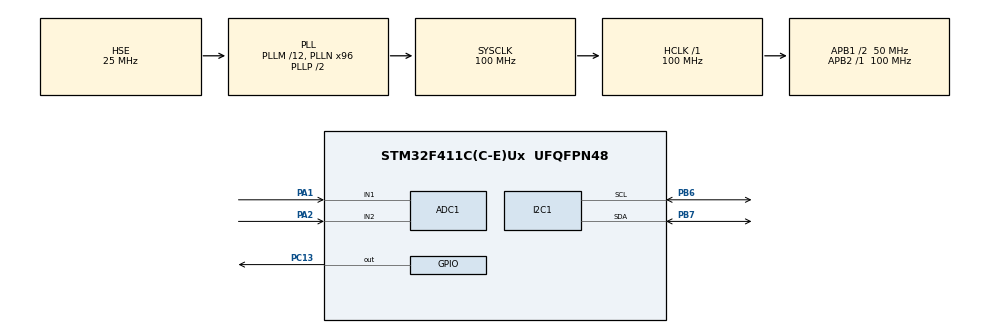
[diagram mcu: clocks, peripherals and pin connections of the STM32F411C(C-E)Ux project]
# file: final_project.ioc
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ADC1.Channel-0\#ChannelRegularConversion=ADC_CHANNEL_1
ADC1.Channel-1\#ChannelRegularConversion=ADC_CHANNEL_2
ADC1.ContinuousConvMode=ENABLE
ADC1.DMAContinuousRequests=ENABLE
ADC1.NbrOfConversion=2
ADC1.NbrOfConversionFlag=1
ADC1.Rank-0\#ChannelRegularConversion=1
ADC1.Rank-1\#ChannelRegularConversion=2
ADC1.SamplingTime-0\#ChannelRegularConversion=ADC_SAMPLETIME_144CYCLES
ADC1.SamplingTime-1\#ChannelRegularConversion=ADC_SAMPLETIME_144CYCLES
ADC1.master=1
Dma.ADC1.0.Direction=DMA_PERIPH_TO_MEMORY
Dma.ADC1.0.FIFOMode=DMA_FIFOMODE_DISABLE
Dma.ADC1.0.Instance=DMA2_Stream0
Dma.ADC1.0.MemDataAlignment=DMA_MDATAALIGN_WORD
Dma.ADC1.0.MemInc=DMA_MINC_ENABLE
Dma.ADC1.0.Mode=DMA_CIRCULAR
Dma.ADC1.0.PeriphDataAlignment=DMA_PDATAALIGN_WORD
Dma.ADC1.0.PeriphInc=DMA_PINC_DISABLE
Dma.ADC1.0.Priority=DMA_PRIORITY_LOW
Dma.Request0=ADC1
I2C1.I2C_Mode=I2C_Fast
Mcu.Family=STM32F4
Mcu.Name=STM32F411C(C-E)Ux
Mcu.Package=UFQFPN48
NVIC.DMA2_Stream0_IRQn=true\:0\:0\:false\:false\:true\:false\:true\:true
NVIC.PriorityGroup=NVIC_PRIORITYGROUP_4
PA1.Signal=ADCx_IN1
PA2.Signal=ADCx_IN2
PB6.Mode=I2C
PB6.Signal=I2C1_SCL
PB7.Mode=I2C
PB7.Signal=I2C1_SDA
PC13-ANTI_TAMP.Signal=GPIO_Output
PH0\ -\ OSC_IN.Mode=HSE-External-Oscillator
PH0\ -\ OSC_IN.Signal=RCC_OSC_IN
PH1\ -\ OSC_OUT.Mode=HSE-External-Oscillator
PH1\ -\ OSC_OUT.Signal=RCC_OSC_OUT
ProjectManager.HeapSize=0x200
ProjectManager.StackSize=0x400
ProjectManager.TargetToolchain=STM32CubeIDE
RCC.48MHZClocksFreq_Value=50000000
RCC.AHBFreq_Value=100000000
RCC.APB1CLKDivider=RCC_HCLK_DIV2
RCC.APB1Freq_Value=50000000
RCC.APB1TimFreq_Value=100000000
RCC.APB2Freq_Value=100000000
RCC.APB2TimFreq_Value=100000000
RCC.CortexFreq_Value=100000000
RCC.HCLKFreq_Value=100000000
RCC.HSE_VALUE=25000000
RCC.HSI_VALUE=16000000
RCC.LSE_VALUE=32768
RCC.PLLM=12
RCC.PLLN=96
RCC.PLLSourceVirtual=RCC_PLLSOURCE_HSE
RCC.SYSCLKFreq_VALUE=100000000
RCC.SYSCLKSource=RCC_SYSCLKSOURCE_PLLCLK
RCC.VCOOutputFreq_Value=200000000
SH.ADCx_IN1.0=ADC1_IN1,IN1
SH.ADCx_IN2.0=ADC1_IN2,IN2
board=custom

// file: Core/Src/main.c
/* USER CODE BEGIN Header */
/**
  ******************************************************************************
  * @file           : main.c
  * @brief          : Main program body
  ******************************************************************************
  * @attention
  *
  * Copyright (c) 2022 STMicroelectronics.
  * All rights reserved.
  *
  * This software is licensed under terms that can be found in the LICENSE file
  * in the root directory of this software component.
  * If no LICENSE file comes with this software, it is provided AS-IS.
  *
  ******************************************************************************
  */
/* USER CODE END Header */
#include "main.h"

/* USER CODE BEGIN Includes */
#include "fonts.h"
#include "ssd1306.h"
#include "tetris.h"

/* USER CODE END Includes */

 ADC_HandleTypeDef hadc1;
DMA_HandleTypeDef hdma_adc1;

I2C_HandleTypeDef hi2c1;

void SystemClock_Config(void);
static void MX_GPIO_Init(void);
static void MX_I2C1_Init(void);
static void MX_DMA_Init(void);
static void MX_ADC1_Init(void);

/* USER CODE BEGIN 0 */
uint32_t VR[2];
/* USER CODE END 0 */

int main(void)
{

  /* MCU Configuration--------------------------------------------------------*/

  /* Reset of all peripherals, Initializes the Flash interface and the Systick. */
  HAL_Init();

  /* Configure the system clock */
  SystemClock_Config();

  /* Initialize all configured peripherals */
  MX_GPIO_Init();
  MX_I2C1_Init();
  MX_DMA_Init();
  MX_ADC1_Init();
  /* USER CODE BEGIN 2 */
	if(SSD1306_Init () == 0){
		for(uint8_t i = 0; i < 10; ++i){
			HAL_GPIO_WritePin(GPIOC, GPIO_PIN_13, GPIO_PIN_RESET);
			HAL_Delay (100);
			HAL_GPIO_WritePin(GPIOC, GPIO_PIN_13, GPIO_PIN_SET);
			HAL_Delay (100);
		}
	}
	  rng_seed(HAL_GetTick());
	  HAL_StatusTypeDef status = HAL_ADC_Start_DMA(&hadc1, VR, 2);
  /* USER CODE END 2 */

  /* Infinite loop */
  /* USER CODE BEGIN WHILE */
	  uint32_t last_input_time = 0;
	  uint32_t input_interval = 250;
	  enum GAME_STATE cur_state = START;
	  enum SM_MOVE move;
	  static char score_buf[12] = {0};
	  uint8_t game_ended = 1;
  while (1)
  {
	  move = NO_INPUT;

	  if(last_input_time + input_interval < HAL_GetTick()){
		  last_input_time = HAL_GetTick();
		  if(VR[1] > 3900){
			  move = ROTATE;
		  }else if(VR[1] < 200){
			  move = DOWN;
		  }else if(VR[0] > 3900){
			  move = LEFT;
		  }else if(VR[0] < 200){
			  move = RIGHT;
		  }
	  }

	  if(cur_state == START){
		  if(game_ended){
			  game_ended = 0;
			  SSD1306_Clear();
		  }
		  SSD1306_GotoXY (10,10); // goto 10, 10
		  SSD1306_Puts ("MINI", &Font_11x18, 1);
		  SSD1306_GotoXY (10, 30);
		  SSD1306_Puts ("TETRIS", &Font_11x18, 1);
		  SSD1306_UpdateScreen(); // update screen*/
		  if(move != NO_INPUT){
			  init_game();
			  cur_state = RUNNING;
		  }
	  }else if(cur_state == RUNNING){
		  cur_state = game_iteration(move);
	  }else if(cur_state == LOST){
		  cur_state = ENDED;
		  SSD1306_GotoXY (10,10); // goto 10, 10
		  SSD1306_Puts ("GAME OVER!", &Font_11x18, 1);
		  SSD1306_UpdateScreen(); // update screen*/
		  HAL_Delay (2000);
		  SSD1306_Clear();
		  SSD1306_GotoXY (10,10); // goto 10, 10
		  SSD1306_Puts ("YOUR SCORE", &Font_11x18, 1);
		  SSD1306_GotoXY (10, 30);
		  itoa(get_score(), score_buf, 11);
		  SSD1306_Puts (score_buf, &Font_11x18, 1);
		  SSD1306_UpdateScreen(); // update screen*/
	  }else{
		  if(move != NO_INPUT)
			  cur_state = START;
		  game_ended = 1;
	  }

    /* USER CODE END WHILE */

  }
}

void SystemClock_Config(void)
{
  RCC_OscInitTypeDef RCC_OscInitStruct = {0};
  RCC_ClkInitTypeDef RCC_ClkInitStruct = {0};

  /** Configure the main internal regulator output voltage
  */
  __HAL_RCC_PWR_CLK_ENABLE();
  __HAL_PWR_VOLTAGESCALING_CONFIG(PWR_REGULATOR_VOLTAGE_SCALE1);

  /** Initializes the RCC Oscillators according to the specified parameters
  * in the RCC_OscInitTypeDef structure.
  */
  RCC_OscInitStruct.OscillatorType = RCC_OSCILLATORTYPE_HSE;
  RCC_OscInitStruct.HSEState = RCC_HSE_ON;
  RCC_OscInitStruct.PLL.PLLState = RCC_PLL_ON;
  RCC_OscInitStruct.PLL.PLLSource = RCC_PLLSOURCE_HSE;
  RCC_OscInitStruct.PLL.PLLM = 12;
  RCC_OscInitStruct.PLL.PLLN = 96;
  RCC_OscInitStruct.PLL.PLLP = RCC_PLLP_DIV2;
  RCC_OscInitStruct.PLL.PLLQ = 4;
  if (HAL_RCC_OscConfig(&RCC_OscInitStruct) != HAL_OK)
  {
    Error_Handler();
  }

  /** Initializes the CPU, AHB and APB buses clocks
  */
  RCC_ClkInitStruct.ClockType = RCC_CLOCKTYPE_HCLK|RCC_CLOCKTYPE_SYSCLK
                              |RCC_CLOCKTYPE_PCLK1|RCC_CLOCKTYPE_PCLK2;
  RCC_ClkInitStruct.SYSCLKSource = RCC_SYSCLKSOURCE_PLLCLK;
  RCC_ClkInitStruct.AHBCLKDivider = RCC_SYSCLK_DIV1;
  RCC_ClkInitStruct.APB1CLKDivider = RCC_HCLK_DIV2;
  RCC_ClkInitStruct.APB2CLKDivider = RCC_HCLK_DIV1;

  if (HAL_RCC_ClockConfig(&RCC_ClkInitStruct, FLASH_LATENCY_3) != HAL_OK)
  {
    Error_Handler();
  }
}

static void MX_ADC1_Init(void)
{

  ADC_ChannelConfTypeDef sConfig = {0};

  /** Configure the global features of the ADC (Clock, Resolution, Data Alignment and number of conversion)
  */
  hadc1.Instance = ADC1;
  hadc1.Init.ClockPrescaler = ADC_CLOCK_SYNC_PCLK_DIV4;
  hadc1.Init.Resolution = ADC_RESOLUTION_12B;
  hadc1.Init.ScanConvMode = ENABLE;
  hadc1.Init.ContinuousConvMode = ENABLE;
  hadc1.Init.DiscontinuousConvMode = DISABLE;
  hadc1.Init.ExternalTrigConvEdge = ADC_EXTERNALTRIGCONVEDGE_NONE;
  hadc1.Init.ExternalTrigConv = ADC_SOFTWARE_START;
  hadc1.Init.DataAlign = ADC_DATAALIGN_RIGHT;
  hadc1.Init.NbrOfConversion = 2;
  hadc1.Init.DMAContinuousRequests = ENABLE;
  hadc1.Init.EOCSelection = ADC_EOC_SINGLE_CONV;
  if (HAL_ADC_Init(&hadc1) != HAL_OK)
  {
    Error_Handler();
  }

  /** Configure for the selected ADC regular channel its corresponding rank in the sequencer and its sample time.
  */
  sConfig.Channel = ADC_CHANNEL_1;
  sConfig.Rank = 1;
  sConfig.SamplingTime = ADC_SAMPLETIME_144CYCLES;
  if (HAL_ADC_ConfigChannel(&hadc1, &sConfig) != HAL_OK)
  {
    Error_Handler();
  }

  /** Configure for the selected ADC regular channel its corresponding rank in the sequencer and its sample time.
  */
  sConfig.Channel = ADC_CHANNEL_2;
  sConfig.Rank = 2;
  if (HAL_ADC_ConfigChannel(&hadc1, &sConfig) != HAL_OK)
  {
    Error_Handler();
  }

}

static void MX_I2C1_Init(void)
{

  hi2c1.Instance = I2C1;
  hi2c1.Init.ClockSpeed = 400000;
  hi2c1.Init.DutyCycle = I2C_DUTYCYCLE_2;
  hi2c1.Init.OwnAddress1 = 0;
  hi2c1.Init.AddressingMode = I2C_ADDRESSINGMODE_7BIT;
  hi2c1.Init.DualAddressMode = I2C_DUALADDRESS_DISABLE;
  hi2c1.Init.OwnAddress2 = 0;
  hi2c1.Init.GeneralCallMode = I2C_GENERALCALL_DISABLE;
  hi2c1.Init.NoStretchMode = I2C_NOSTRETCH_DISABLE;
  if (HAL_I2C_Init(&hi2c1) != HAL_OK)
  {
    Error_Handler();
  }

}

static void MX_DMA_Init(void)
{

  /* DMA controller clock enable */
  __HAL_RCC_DMA2_CLK_ENABLE();

  /* DMA interrupt init */
  /* DMA2_Stream0_IRQn interrupt configuration */
  HAL_NVIC_SetPriority(DMA2_Stream0_IRQn, 0, 0);
  HAL_NVIC_EnableIRQ(DMA2_Stream0_IRQn);

}

static void MX_GPIO_Init(void)
{
  GPIO_InitTypeDef GPIO_InitStruct = {0};

  /* GPIO Ports Clock Enable */
  __HAL_RCC_GPIOC_CLK_ENABLE();
  __HAL_RCC_GPIOH_CLK_ENABLE();
  __HAL_RCC_GPIOA_CLK_ENABLE();
  __HAL_RCC_GPIOB_CLK_ENABLE();

  /*Configure GPIO pin Output Level */
  HAL_GPIO_WritePin(GPIOC, GPIO_PIN_13, GPIO_PIN_RESET);

  /*Configure GPIO pin : PC13 */
  GPIO_InitStruct.Pin = GPIO_PIN_13;
  GPIO_InitStruct.Mode = GPIO_MODE_OUTPUT_PP;
  GPIO_InitStruct.Pull = GPIO_NOPULL;
  GPIO_InitStruct.Speed = GPIO_SPEED_FREQ_LOW;
  HAL_GPIO_Init(GPIOC, &GPIO_InitStruct);

}

void Error_Handler(void)
{
  __disable_irq();
  while (1)
  {
  }
}
